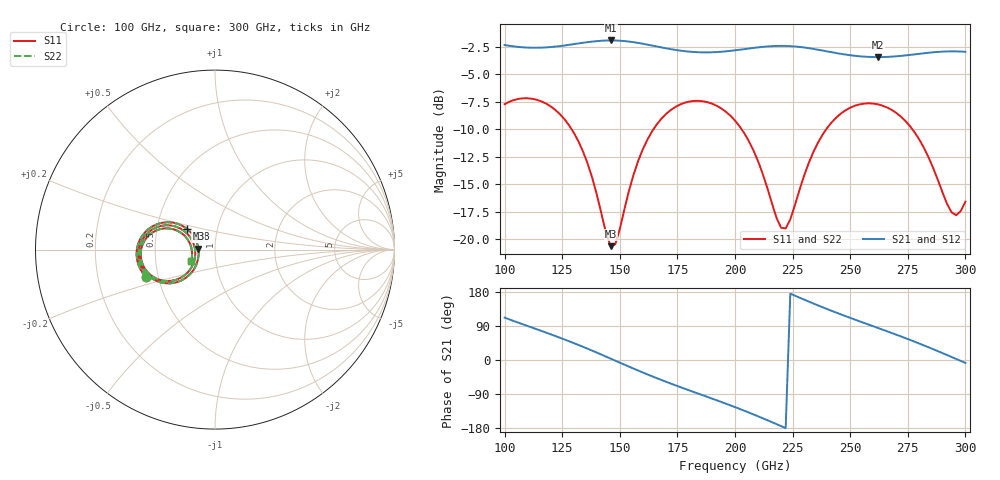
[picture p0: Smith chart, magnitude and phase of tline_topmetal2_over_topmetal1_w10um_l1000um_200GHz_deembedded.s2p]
! Created with skrf 2.2.0 (http://scikit-rf.org).
# GHz S DB R 50.0
! Port[1] = P1
! Port[2] = P2
!freq dBS11 angS11 dBS21 angS21 dBS12 angS12 dBS22 angS22
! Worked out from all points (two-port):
!   101 points, 100 GHz to 300 GHz, reference 50 ohm
!   highest |S21| = -1.90 dB at 146 GHz (marker M1); lowest = -3.4 dB at 262 GHz (marker M2)
!   |S21| within 3 dB of the highest: start of sweep to end of sweep
!   lowest |S11| = -20.6 dB at 146 GHz (marker M3), VSWR 1.20, Z = 41.5 + j0.501 ohm
!   |S11| at or under -10 dB: 129.1 GHz to 164.6 GHz (35.52 GHz wide, 24.2 % of centre); 202.9 GHz to 239.6 GHz (36.72 GHz wide, 16.6 % of centre); 277 GHz to end of sweep
!   |S22| runs from -20.7 to -7.2 dB; largest |S21 - S12| = 8.8e-14
!   S11 on the Smith chart (normalised r, x): 100 GHz: 0.43, -0.16; 138 GHz: 0.72, +0.17; 300 GHz: 0.76, -0.10
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100  -7.71 -158.0  -2.32 111.7  -2.32 111.7  -7.71 -158.1
110  -7.17 -176.2  -2.55 89.7  -2.55 89.7  -7.17 -176.2
118  -7.65 169.7  -2.53 72.2  -2.53 72.2  -7.65 169.6
134  -12.00 145.3  -2.11 34.9  -2.11 34.9  -12.01 145.2
138  -14.40 143.5  -2.00 24.7  -2.00 24.7  -14.41 143.4
146  -20.65 176.3  -1.90 3.7  -1.90 3.7  -20.70 176.3
148  -20.49 -164.2  -1.91 -1.6  -1.91 -1.6  -20.54 -164.1
156  -14.11 -135.3  -2.06 -22.7  -2.06 -22.7  -14.12 -135.2
168  -9.05 -148.8  -2.53 -52.6  -2.53 -52.6  -9.05 -148.7
184  -7.40 -175.6  -2.97 -88.6  -2.97 -88.6  -7.40 -175.5
200  -9.20 158.8  -2.80 -124.4  -2.80 -124.4  -9.20 158.8
208  -11.92 149.6  -2.58 -143.6  -2.58 -143.6  -11.92 149.6
220  -18.97 176.1  -2.39 -174.5  -2.39 -174.5  -19.00 176.1
224  -18.21 -156.3  -2.42 175.0  -2.42 175.0  -18.25 -156.2
234  -12.08 -140.7  -2.67 149.2  -2.67 149.2  -12.08 -140.5
248  -8.26 -158.6  -3.19 115.7  -3.19 115.7  -8.26 -158.4
262  -7.72 179.5  -3.42 84.6  -3.42 84.6  -7.72 179.6
268  -8.23 170.4  -3.37 71.3  -3.37 71.3  -8.23 170.5
278  -10.28 157.3  -3.17 48.2  -3.17 48.2  -10.28 157.4
286  -13.51 153.6  -2.98 28.5  -2.98 28.5  -13.51 153.7
294  -17.56 174.8  -2.89 8.0  -2.89 8.0  -17.55 174.9
300  -16.59 -154.4  -2.94 -7.6  -2.94 -7.6  -16.58 -154.3
